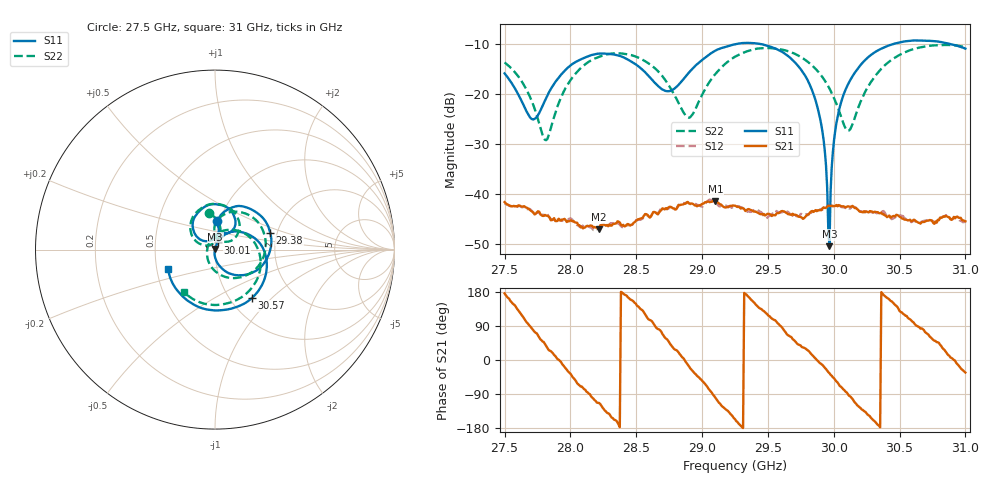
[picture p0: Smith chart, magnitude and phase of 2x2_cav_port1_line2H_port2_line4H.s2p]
!Created with skrf (http://scikit-rf.org).
# GHz S RI R 50.0
!freq ReS11 ImS11 ReS21 ImS21 ReS12 ImS12 ReS22 ImS22
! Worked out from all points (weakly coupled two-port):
!   401 points, 27.5 GHz to 31 GHz, reference 50 ohm
!   highest |S21| = -41.37 dB at 29.1 GHz (marker M1); lowest = -47.0 dB at 28.22 GHz (marker M2)
!   lowest |S11| = -50.4 dB at 29.97 GHz (marker M3), VSWR 1.01, Z = 50 + j0.3 ohm
!   |S11| at or under -10 dB: start of sweep to 29.26 GHz; 29.44 GHz to 30.46 GHz (1.018 GHz wide, 3.4 % of centre); 30.8796 GHz to end of sweep
!   |S22| runs from -29.2 to -10.2 dB; largest |S21 - S12| = 0.00059
!   S11 on the Smith chart (normalised r, x): 27.5 GHz: 0.97, +0.32; 29.38 GHz: 1.83, +0.39; 30.01 GHz: 1.03, +0.08; 30.57 GHz: 1.26, -0.77; 31 GHz: 0.57, -0.14
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27.5  0.0107 0.1601  -0.00828 0.000614  -0.00802 0.00052  -0.0352 0.2033
27.71  -0.0167 0.0534  0.000992 0.00659  0.0011 0.00663  0.0267 0.0781
27.815  -0.074 0.0522  0.00483 0.00371  0.005 0.00385  -0.0179 0.0295
27.955  -0.1226 0.1174  0.00535 -0.00178  0.00522 -0.0017  -0.1011 0.0424
28.08625  -0.0999 0.2002  0.00162 -0.00445  0.0016 -0.00444  -0.1378 0.1241
28.2175  -0.0237 0.2518  -0.00176 -0.00408  -0.00178 -0.00423  -0.0979 0.2135
28.6725  0.0728 0.0925  0.00105 0.00641  0.000889 0.00663  0.132 0.0988
28.9  0.0194 0.1623  0.00777 -0.0023  0.00771 -0.00234  0.0264 0.0514
29.10125  0.1218 0.2419  -0.00144 -0.00842  -0.00176 -0.0081  0.00836 0.1581
29.25  0.2419 0.1992  -0.00698 -0.00313  -0.00677 -0.0032  0.1027 0.2119
29.38125  0.3075 0.0953  -0.00625 0.00277  -0.0063 0.00238  0.2109 0.179
29.6525  0.1996 -0.1321  0.00262 0.00573  0.00282 0.00601  0.2596 -0.0642
29.83625  0.0355 -0.1021  0.00659 0.00155  0.00641 0.00159  0.1084 -0.1589
29.915  0.000216 -0.0413  0.00702 -0.00166  0.00679 -0.00165  0.0337 -0.1429
29.95  -0.00198 -0.0115  0.00662 -0.00349  0.00667 -0.00333  0.00569 -0.1242
29.9675  0.000245 0.003  0.00629 -0.00437  0.00623 -0.00427  -0.00673 -0.113
30.01125  0.0152 0.0399  0.00463 -0.006  0.00459 -0.00612  -0.0302 -0.0796
30.11625  0.0868 0.0976  -0.000554 -0.00746  -0.000255 -0.00718  -0.0402 0.0156
30.4225  0.2881 -0.1038  -0.00572 0.00213  -0.00543 0.00248  0.2023 0.0614
30.57125  0.2071 -0.2686  -0.00177 0.00517  -0.00172 0.00517  0.2539 -0.0948
30.78125  -0.0654 -0.3288  0.00353 0.00382  0.00344 0.00385  0.0994 -0.2897
31  -0.2616 -0.1094  0.00447 -0.00291  0.00455 -0.00257  -0.1743 -0.2372
